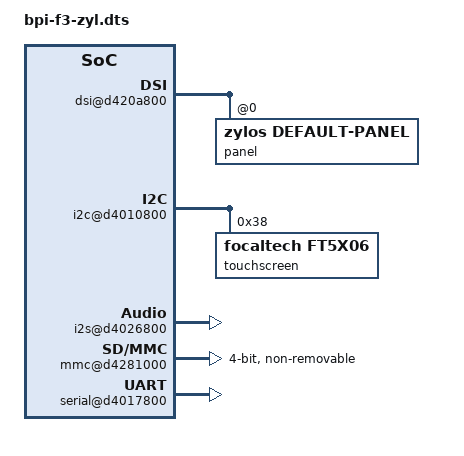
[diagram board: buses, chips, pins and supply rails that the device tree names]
/*
 * Zyl OS Device Tree for Banana Pi BPI-F3
 * SpacemiT K1 SoC (RISC-V)
 *
 * This DTS overlay extends the SpacemiT BSP device tree
 * with Zyl OS specific configurations.
 *
 * Base DT: spacemit/k1-bpi-f3.dts (from BSP kernel)
 *
 * Copyright (c) 2026 Zyl OS Project
 * SPDX-License-Identifier: (GPL-2.0 OR MIT)
 */

/dts-v1/;
/plugin/;

/ {
    compatible = "bananapi,bpi-f3", "spacemit,k1";

    fragment@0 {
        target-path = "/";
        __overlay__ {
            /* Zyl OS 식별 */
            zyl-os {
                compatible = "zylos,system";
                os-version = "0.1.0";
                device-name = "Zyl Phone F3";
                nav-mode = "gesture"; /* gesture | softkeys | hardware */
            };
        };
    };

    /* MIPI DSI 패널 설정 */
    fragment@1 {
        target-path = "/soc/dsi@d420a800";
        __overlay__ {
            status = "okay";

            panel@0 {
                compatible = "zylos,default-panel";
                reg = <0>;

                /* 1080x2400 AMOLED @ 60Hz */
                width-mm = <68>;
                height-mm = <152>;

                panel-timing {
                    clock-frequency = <152340000>;
                    hactive = <1080>;
                    vactive = <2400>;
                    hfront-porch = <32>;
                    hback-porch = <32>;
                    hsync-len = <4>;
                    vfront-porch = <12>;
                    vback-porch = <8>;
                    vsync-len = <4>;
                };
            };
        };
    };

    /* 터치스크린 (I2C) */
    fragment@2 {
        target-path = "/soc/i2c@d4010800";
        __overlay__ {
            status = "okay";

            touchscreen@38 {
                compatible = "focaltech,ft5x06";
                reg = <0x38>;
                interrupt-parent = <&gpio>;
                /* interrupts = <GPIO_PIN IRQ_TYPE_EDGE_FALLING>; */
                touchscreen-size-x = <1080>;
                touchscreen-size-y = <2400>;
                touchscreen-max-pressure = <255>;
                touchscreen-fuzz-x = <2>;
                touchscreen-fuzz-y = <2>;
            };
        };
    };

    /* GPU (IMG BXE-2-32) — 독점 드라이버 사용 */
    fragment@3 {
        target-path = "/soc/gpu@c0000000";
        __overlay__ {
            status = "okay";
            /* 독점 PVR 드라이버가 런타임에 설정 */
        };
    };

    /* 오디오 코덱 */
    fragment@4 {
        target-path = "/soc/i2s@d4026800";
        __overlay__ {
            status = "okay";
        };
    };

    /* WiFi (SDIO) */
    fragment@5 {
        target-path = "/soc/mmc@d4281000";
        __overlay__ {
            status = "okay";
            /* WiFi 모듈 SDIO 인터페이스 */
            non-removable;
            bus-width = <4>;
            cap-sdio-irq;
        };
    };

    /* Bluetooth (UART) */
    fragment@6 {
        target-path = "/soc/serial@d4017800";
        __overlay__ {
            status = "okay";
            /* BT HCI UART */
        };
    };
};
